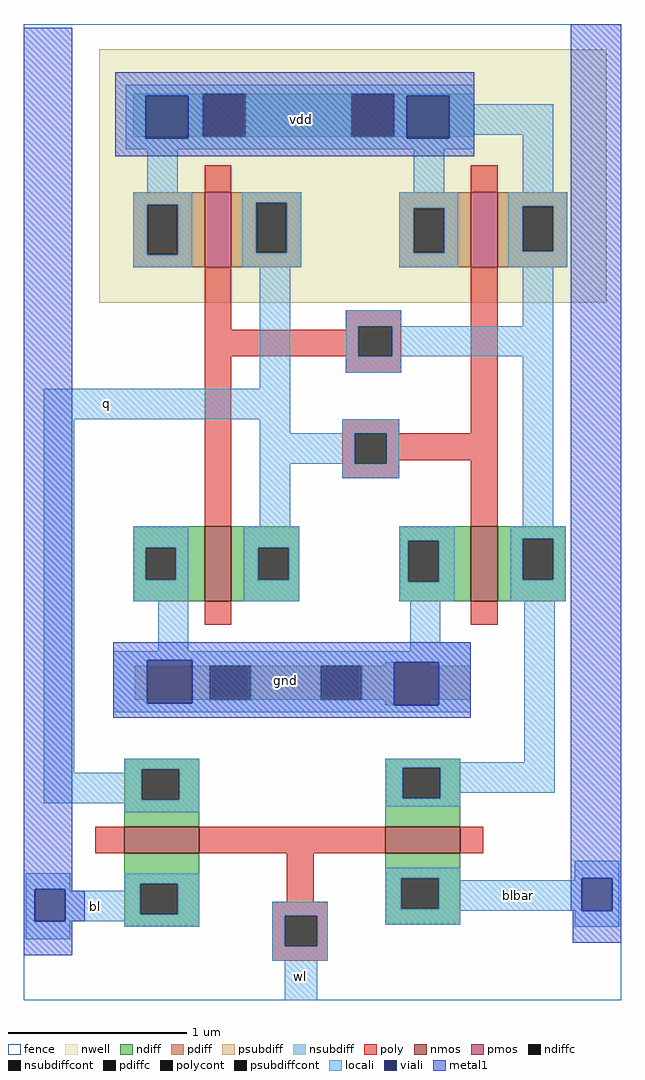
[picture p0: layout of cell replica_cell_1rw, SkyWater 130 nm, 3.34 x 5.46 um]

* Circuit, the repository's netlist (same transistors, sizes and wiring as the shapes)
*********************** "cell_1rw" ******************************
.SUBCKT replica_cell_1rw bl br wl vdd gnd
* SPICE3 file created from cell_1rw.ext - technology: sky130A

X0 vdd wl br gnd sky130_fd_pr__nfet_01v8 w=0.42u l=0.15u
X1 vdd q vdd vdd sky130_fd_pr__pfet_01v8 w=0.42u l=0.15u
X2 q vdd vdd vdd sky130_fd_pr__pfet_01v8 w=0.42u l=0.15u
X3 q vdd gnd gnd sky130_fd_pr__nfet_01v8 w=0.42u l=0.15u
X4 vdd q gnd gnd sky130_fd_pr__nfet_01v8 w=0.42u l=0.15u
X5 q wl bl gnd sky130_fd_pr__nfet_01v8 w=0.42u l=0.15u

.ENDS

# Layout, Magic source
magic
tech sky130A
<< fence >>
rect -83 -413 251 133
<< nwell >>
rect -41 -23 243 119
<< nmos >>
rect 18 -190 33 -148
rect 167 -190 182 -148
rect -27 -331 15 -316
rect 119 -331 161 -316
<< pmos >>
rect 18 -3 33 39
rect 167 -3 182 39
<< ndiff >>
rect -22 -160 18 -148
rect -22 -178 -15 -160
rect 2 -178 18 -160
rect -22 -190 18 -178
rect 33 -160 71 -148
rect 33 -178 48 -160
rect 65 -178 71 -160
rect 33 -190 71 -178
rect 127 -156 167 -148
rect 127 -179 132 -156
rect 149 -179 167 -156
rect 127 -190 167 -179
rect 182 -155 220 -148
rect 182 -178 196 -155
rect 213 -178 220 -155
rect 182 -190 220 -178
rect -27 -284 15 -278
rect -27 -301 -17 -284
rect 4 -301 15 -284
rect -27 -316 15 -301
rect 119 -283 161 -278
rect 119 -300 129 -283
rect 150 -300 161 -283
rect 119 -316 161 -300
rect -27 -348 15 -331
rect -27 -365 -18 -348
rect 3 -365 15 -348
rect 119 -345 161 -331
rect -27 -372 15 -365
rect 119 -362 128 -345
rect 149 -362 161 -345
rect 119 -371 161 -362
<< pdiff >>
rect -22 32 18 39
rect -22 4 -14 32
rect 3 4 18 32
rect -22 -3 18 4
rect 33 33 72 39
rect 33 5 47 33
rect 64 5 72 33
rect 33 -3 72 5
rect 127 30 167 39
rect 127 5 135 30
rect 152 5 167 30
rect 127 -3 167 5
rect 182 31 221 39
rect 182 6 196 31
rect 213 6 221 31
rect 182 -3 221 6
<< ndiffc >>
rect -15 -178 2 -160
rect 48 -178 65 -160
rect 132 -179 149 -156
rect 196 -178 213 -155
rect -17 -301 4 -284
rect 129 -300 150 -283
rect -18 -365 3 -348
rect 128 -362 149 -345
<< pdiffc >>
rect -14 4 3 32
rect 47 5 64 33
rect 135 5 152 30
rect 196 6 213 31
<< psubdiff >>
rect 119 -226 144 -224
rect -21 -245 21 -226
rect 44 -245 83 -226
rect 106 -245 167 -226
rect 119 -248 144 -245
<< nsubdiff >>
rect -22 70 17 94
rect 41 70 100 94
rect 124 70 169 94
<< psubdiffcont >>
rect 21 -245 44 -226
rect 83 -245 106 -226
<< nsubdiffcont >>
rect 17 70 41 94
rect 100 70 124 94
<< poly >>
rect 18 39 33 54
rect 167 39 182 54
rect 18 -38 33 -3
rect 97 -36 128 -27
rect 97 -38 104 -36
rect 18 -53 104 -38
rect 123 -53 128 -36
rect 18 -148 33 -53
rect 97 -62 128 -53
rect 95 -96 127 -88
rect 167 -96 182 -3
rect 95 -113 102 -96
rect 120 -111 182 -96
rect 120 -113 127 -111
rect 95 -121 127 -113
rect 167 -148 182 -111
rect 18 -203 33 -190
rect 167 -203 182 -190
rect -43 -331 -27 -316
rect 15 -331 119 -316
rect 161 -331 174 -316
rect 64 -358 79 -331
rect 56 -366 87 -358
rect 56 -383 63 -366
rect 81 -383 87 -366
rect 56 -391 87 -383
<< polycont >>
rect 104 -53 123 -36
rect 102 -113 120 -96
rect 63 -383 81 -366
<< locali >>
rect -26 94 169 99
rect -26 93 17 94
rect -26 69 -15 93
rect 9 70 17 93
rect 41 70 100 94
rect 124 93 169 94
rect 124 70 131 93
rect 9 69 131 70
rect 155 88 169 93
rect 155 71 213 88
rect 155 69 169 71
rect -26 63 169 69
rect -14 39 3 63
rect 135 39 152 63
rect 196 39 213 71
rect -22 32 11 39
rect -22 4 -14 32
rect 3 4 11 32
rect -22 -3 11 4
rect 39 33 72 39
rect 39 5 47 33
rect 64 5 72 33
rect 39 -3 72 5
rect 127 30 160 39
rect 127 5 135 30
rect 152 5 160 30
rect 127 -3 160 5
rect 188 31 221 39
rect 188 6 196 31
rect 213 6 221 31
rect 188 -3 221 6
rect 49 -71 66 -3
rect 97 -36 128 -27
rect 196 -36 213 -3
rect 97 -53 104 -36
rect 123 -53 213 -36
rect 97 -62 128 -53
rect -72 -88 66 -71
rect -72 -286 -55 -88
rect 49 -96 66 -88
rect 95 -96 127 -88
rect 49 -113 102 -96
rect 120 -113 127 -96
rect 49 -148 66 -113
rect 95 -121 127 -113
rect 196 -148 213 -53
rect -22 -160 9 -148
rect -22 -178 -15 -160
rect 2 -178 9 -160
rect -22 -190 9 -178
rect 40 -160 71 -148
rect 40 -178 48 -160
rect 65 -178 71 -160
rect 40 -190 71 -178
rect 127 -156 158 -148
rect 127 -179 132 -156
rect 149 -179 158 -156
rect 127 -190 158 -179
rect 189 -155 220 -148
rect 189 -178 196 -155
rect 213 -178 220 -155
rect 189 -190 220 -178
rect -8 -218 9 -190
rect 133 -213 150 -190
rect 133 -218 167 -213
rect -33 -223 167 -218
rect -33 -247 -14 -223
rect 11 -224 167 -223
rect 11 -226 124 -224
rect 11 -245 21 -226
rect 44 -245 83 -226
rect 106 -245 124 -226
rect 11 -247 124 -245
rect -33 -248 124 -247
rect 149 -248 167 -224
rect -33 -252 167 -248
rect -27 -284 15 -278
rect -27 -286 -17 -284
rect -72 -301 -17 -286
rect 4 -301 15 -284
rect -72 -303 15 -301
rect -27 -308 15 -303
rect 119 -280 161 -278
rect 197 -280 214 -190
rect 119 -283 214 -280
rect 119 -300 129 -283
rect 150 -297 214 -283
rect 150 -300 161 -297
rect 119 -305 161 -300
rect -82 -351 -57 -342
rect -82 -369 -77 -351
rect -60 -352 -57 -351
rect -27 -348 15 -342
rect -27 -352 -18 -348
rect -60 -365 -18 -352
rect 3 -365 15 -348
rect 119 -345 161 -339
rect -60 -369 15 -365
rect -82 -379 -57 -369
rect -27 -372 15 -369
rect 56 -366 87 -358
rect 56 -383 63 -366
rect 81 -383 87 -366
rect 119 -362 128 -345
rect 149 -346 161 -345
rect 225 -345 250 -335
rect 225 -346 229 -345
rect 149 -362 229 -346
rect 119 -363 229 -362
rect 246 -363 250 -345
rect 119 -371 161 -363
rect 225 -372 250 -363
rect 56 -391 87 -383
rect 63 -413 81 -391
<< viali >>
rect -15 69 9 93
rect 131 69 155 93
rect -14 -247 11 -223
rect 124 -248 149 -224
rect -77 -369 -60 -351
rect 229 -363 246 -345
<< metal1 >>
rect -83 -351 -56 131
rect -32 93 169 106
rect -32 69 -15 93
rect 9 69 131 93
rect 155 69 169 93
rect -32 59 169 69
rect -33 -223 167 -213
rect -33 -247 -14 -223
rect 11 -224 167 -223
rect 11 -247 124 -224
rect -33 -248 124 -247
rect 149 -248 167 -224
rect -33 -255 167 -248
rect -83 -369 -77 -351
rect -60 -352 -56 -351
rect 223 -345 251 133
rect -60 -369 -49 -352
rect 223 -363 229 -345
rect 246 -363 251 -345
rect -83 -388 -56 -369
rect 224 -381 251 -363
<< labels >>
flabel metal1 45 65 99 94 0 FreeSans 152 0 0 0 vdd
flabel locali -49 -87 -25 -72 0 FreeSans 104 0 0 0 q
flabel metal1 46 -243 81 -226 0 FreeSans 120 0 0 0 gnd
flabel locali -55 -368 -31 -353 0 FreeSans 120 0 0 0 bl
flabel locali 171 -363 216 -346 0 FreeSans 120 0 0 0 blbar
flabel locali 64 -407 79 -393 0 FreeSans 72 0 0 0 wl
<< end >>
